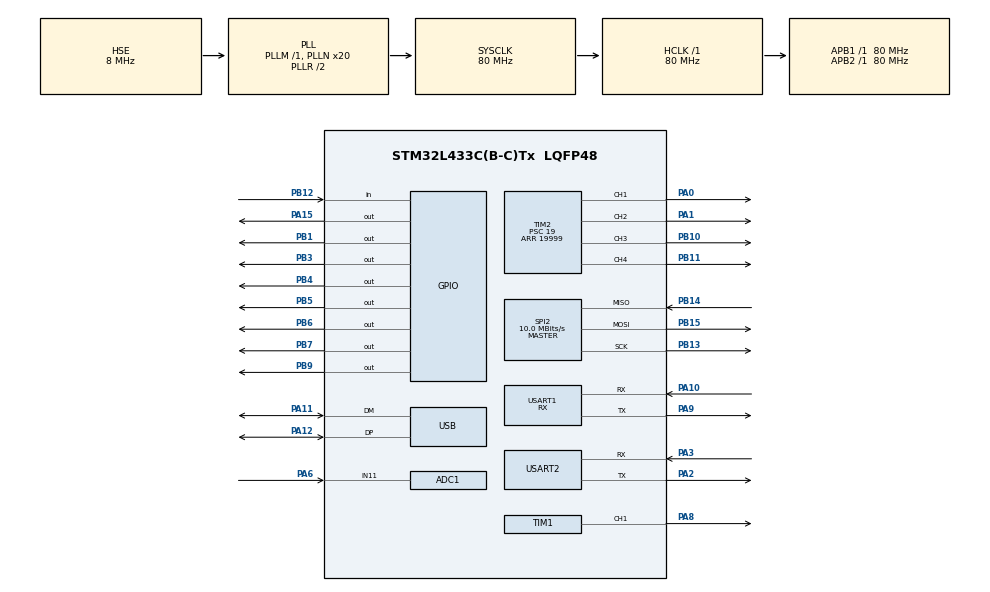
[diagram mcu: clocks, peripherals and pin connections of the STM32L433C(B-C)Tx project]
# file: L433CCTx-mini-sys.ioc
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ADC1.Channel-0\#ChannelRegularConversion=ADC_CHANNEL_11
ADC1.NbrOfConversionFlag=1
ADC1.OffsetNumber-0\#ChannelRegularConversion=ADC_OFFSET_NONE
ADC1.Rank-0\#ChannelRegularConversion=1
ADC1.SamplingTime-0\#ChannelRegularConversion=ADC_SAMPLETIME_2CYCLES_5
ADC1.master=1
Dma.Request0=USART2_TX
Dma.Request1=TIM1_CH1
Dma.TIM1_CH1.1.Direction=DMA_MEMORY_TO_PERIPH
Dma.TIM1_CH1.1.Instance=DMA1_Channel2
Dma.TIM1_CH1.1.MemDataAlignment=DMA_MDATAALIGN_BYTE
Dma.TIM1_CH1.1.MemInc=DMA_MINC_ENABLE
Dma.TIM1_CH1.1.Mode=DMA_CIRCULAR
Dma.TIM1_CH1.1.PeriphDataAlignment=DMA_PDATAALIGN_WORD
Dma.TIM1_CH1.1.PeriphInc=DMA_PINC_DISABLE
Dma.TIM1_CH1.1.Priority=DMA_PRIORITY_HIGH
Dma.USART2_TX.0.Direction=DMA_MEMORY_TO_PERIPH
Dma.USART2_TX.0.Instance=DMA1_Channel7
Dma.USART2_TX.0.MemDataAlignment=DMA_MDATAALIGN_BYTE
Dma.USART2_TX.0.MemInc=DMA_MINC_ENABLE
Dma.USART2_TX.0.Mode=DMA_CIRCULAR
Dma.USART2_TX.0.PeriphDataAlignment=DMA_PDATAALIGN_BYTE
Dma.USART2_TX.0.PeriphInc=DMA_PINC_DISABLE
Dma.USART2_TX.0.Priority=DMA_PRIORITY_MEDIUM
Mcu.Family=STM32L4
Mcu.Name=STM32L433C(B-C)Tx
Mcu.Package=LQFP48
NVIC.DMA1_Channel2_IRQn=true\:0\:0\:false\:false\:true
NVIC.DMA1_Channel7_IRQn=true\:0\:0\:false\:false\:true
NVIC.PriorityGroup=NVIC_PRIORITYGROUP_4
NVIC.TIM2_IRQn=true\:0\:0\:false\:false\:true
NVIC.USART1_IRQn=true\:0\:0\:false\:false\:true
NVIC.USB_IRQn=true\:0\:0\:false\:false\:true
PA0.Signal=S_TIM2_CH1
PA1.Signal=S_TIM2_CH2
PA10.Mode=Asynchronous
PA10.Signal=USART1_RX
PA11.Mode=Device
PA11.Signal=USB_DM
PA12.Mode=Device
PA12.Signal=USB_DP
PA13\ (JTMS-SWDIO).Mode=Serial_Wire
PA13\ (JTMS-SWDIO).Signal=SYS_JTMS-SWDIO
PA14\ (JTCK-SWCLK).Mode=Serial_Wire
PA14\ (JTCK-SWCLK).Signal=SYS_JTCK-SWCLK
PA15\ (JTDI).Signal=GPIO_Output
PA2.Mode=Asynchronous
PA2.Signal=USART2_TX
PA3.Mode=Asynchronous
PA3.Signal=USART2_RX
PA6.Signal=ADCx_IN11
PA8.GPIO_ModeDefaultPP=GPIO_MODE_AF_OD
PA8.GPIO_Speed=GPIO_SPEED_FREQ_HIGH
PA8.Signal=S_TIM1_CH1
PA9.Mode=Asynchronous
PA9.Signal=USART1_TX
PB1.GPIO_Speed=GPIO_SPEED_FREQ_HIGH
PB1.PinState=GPIO_PIN_SET
PB1.Signal=GPIO_Output
PB10.Signal=S_TIM2_CH3
PB11.Signal=S_TIM2_CH4
PB12.GPIO_PuPd=GPIO_PULLUP
PB12.Signal=GPIO_Input
PB13.Mode=Full_Duplex_Master
PB13.Signal=SPI2_SCK
PB14.GPIO_Mode=GPIO_MODE_AF_PP
PB14.GPIO_PuPd=GPIO_NOPULL
PB14.Mode=Full_Duplex_Master
PB14.Signal=SPI2_MISO
PB15.Mode=Full_Duplex_Master
PB15.Signal=SPI2_MOSI
PB3\ (JTDO-TRACESWO).GPIO_Speed=GPIO_SPEED_FREQ_HIGH
PB3\ (JTDO-TRACESWO).PinState=GPIO_PIN_SET
PB3\ (JTDO-TRACESWO).Signal=GPIO_Output
PB4\ (NJTRST).GPIO_Speed=GPIO_SPEED_FREQ_HIGH
PB4\ (NJTRST).PinState=GPIO_PIN_SET
PB4\ (NJTRST).Signal=GPIO_Output
PB5.GPIO_Speed=GPIO_SPEED_FREQ_HIGH
PB5.PinState=GPIO_PIN_SET
PB5.Signal=GPIO_Output
PB6.GPIO_Speed=GPIO_SPEED_FREQ_HIGH
PB6.PinState=GPIO_PIN_SET
PB6.Signal=GPIO_Output
PB7.GPIO_Speed=GPIO_SPEED_FREQ_HIGH
PB7.PinState=GPIO_PIN_SET
PB7.Signal=GPIO_Output
PB9.GPIO_Speed=GPIO_SPEED_FREQ_HIGH
PB9.Signal=GPIO_Output
PH0-OSC_IN\ (PH0).Mode=HSE-External-Oscillator
PH0-OSC_IN\ (PH0).Signal=RCC_OSC_IN
PH1-OSC_OUT\ (PH1).Mode=HSE-External-Oscillator
PH1-OSC_OUT\ (PH1).Signal=RCC_OSC_OUT
ProjectManager.HeapSize=0x200
ProjectManager.StackSize=0x400
ProjectManager.TargetToolchain=SW4STM32
RCC.ADCFreq_Value=48000000
RCC.AHBFreq_Value=80000000
RCC.APB1Freq_Value=80000000
RCC.APB1TimFreq_Value=80000000
RCC.APB2Freq_Value=80000000
RCC.APB2TimFreq_Value=80000000
RCC.CortexFreq_Value=80000000
RCC.HCLKFreq_Value=80000000
RCC.HSE_VALUE=8000000
RCC.HSI48_VALUE=48000000
RCC.HSI_VALUE=16000000
RCC.LSE_VALUE=32768
RCC.MSI_VALUE=4000000
RCC.PLLN=20
RCC.PLLSAI1N=12
RCC.PLLSourceVirtual=RCC_PLLSOURCE_HSE
RCC.SYSCLKFreq_VALUE=80000000
RCC.SYSCLKSource=RCC_SYSCLKSOURCE_PLLCLK
RCC.USBFreq_Value=48000000
RCC.VCOOutputFreq_Value=160000000
SH.ADCx_IN11.0=ADC1_IN11,IN11-Single-Ended
SH.S_TIM1_CH1.0=TIM1_CH1,PWM Generation1 CH1
SH.S_TIM2_CH1.0=TIM2_CH1,PWM Generation1 CH1
SH.S_TIM2_CH2.0=TIM2_CH2,PWM Generation2 CH2
SH.S_TIM2_CH3.0=TIM2_CH3,PWM Generation3 CH3
SH.S_TIM2_CH4.0=TIM2_CH4,PWM Generation4 CH4
SPI2.BaudRatePrescaler=SPI_BAUDRATEPRESCALER_8
SPI2.CalculateBaudRate=10.0 MBits/s
SPI2.DataSize=SPI_DATASIZE_8BIT
SPI2.Mode=SPI_MODE_MASTER
SPI2.NSSPMode=SPI_NSS_PULSE_DISABLE
TIM1.Period=99
TIM1.RepetitionCounter=0
TIM2.Channel-PWM\ Generation2\ CH2=TIM_CHANNEL_2
TIM2.Channel-PWM\ Generation3\ CH3=TIM_CHANNEL_3
TIM2.Channel-PWM\ Generation4\ CH4=TIM_CHANNEL_4
TIM2.Period=19999
TIM2.Prescaler=19
USART1.Mode=MODE_RX
USART1.WordLength=UART_WORDLENGTH_8B
USB_DEVICE.CLASS_NAME_FS=CDC
USB_DEVICE.USBD_LPM_ENABLED-CDC_FS=0
USB_DEVICE.VirtualModeFS=Cdc_FS
VP_FATFS_VS_Generic.Mode=User_defined
VP_USB_DEVICE_VS_USB_DEVICE_CDC_FS.Mode=CDC_FS
board=L433CCTx-mini-sys

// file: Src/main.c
/**
  ******************************************************************************
  * File Name          : main.c
  * Description        : Main program body
  ******************************************************************************
  *
  * Copyright (c) 2017 STMicroelectronics International N.V.
  * All rights reserved.
  *
  * Redistribution and use in source and binary forms, with or without
  * modification, are permitted, provided that the following conditions are met:
  *
  * 1. Redistribution of source code must retain the above copyright notice,
  *    this list of conditions and the following disclaimer.
  * 2. Redistributions in binary form must reproduce the above copyright notice,
  *    this list of conditions and the following disclaimer in the documentation
  *    and/or other materials provided with the distribution.
  * 3. Neither the name of STMicroelectronics nor the names of other
  *    contributors to this software may be used to endorse or promote products
  *    derived from this software without specific written permission.
  * 4. This software, including modifications and/or derivative works of this
  *    software, must execute solely and exclusively on microcontroller or
  *    microprocessor devices manufactured by or for STMicroelectronics.
  * 5. Redistribution and use of this software other than as permitted under
  *    this license is void and will automatically terminate your rights under
  *    this license.
  *
  * THIS SOFTWARE IS PROVIDED BY STMICROELECTRONICS AND CONTRIBUTORS "AS IS"
  * AND ANY EXPRESS, IMPLIED OR STATUTORY WARRANTIES, INCLUDING, BUT NOT
  * LIMITED TO, THE IMPLIED WARRANTIES OF MERCHANTABILITY, FITNESS FOR A
  * PARTICULAR PURPOSE AND NON-INFRINGEMENT OF THIRD PARTY INTELLECTUAL PROPERTY
  * RIGHTS ARE DISCLAIMED TO THE FULLEST EXTENT PERMITTED BY LAW. IN NO EVENT
  * SHALL STMICROELECTRONICS OR CONTRIBUTORS BE LIABLE FOR ANY DIRECT, INDIRECT,
  * INCIDENTAL, SPECIAL, EXEMPLARY, OR CONSEQUENTIAL DAMAGES (INCLUDING, BUT NOT
  * LIMITED TO, PROCUREMENT OF SUBSTITUTE GOODS OR SERVICES; LOSS OF USE, DATA,
  * OR PROFITS; OR BUSINESS INTERRUPTION) HOWEVER CAUSED AND ON ANY THEORY OF
  * LIABILITY, WHETHER IN CONTRACT, STRICT LIABILITY, OR TORT (INCLUDING
  * NEGLIGENCE OR OTHERWISE) ARISING IN ANY WAY OUT OF THE USE OF THIS SOFTWARE,
  * EVEN IF ADVISED OF THE POSSIBILITY OF SUCH DAMAGE.
  *
  ******************************************************************************
  */
#include "main.h"
#include "stm32l4xx_hal.h"
#include "adc.h"
#include "dma.h"
#include "fatfs.h"
#include "spi.h"
#include "tim.h"
#include "usart.h"
#include "usb_device.h"
#include "gpio.h"

/* USER CODE BEGIN Includes */
#include "stm32_adafruit_lcd.h"
#include "stm32_adafruit_sd.h"
#include "usbd_cdc_if.h"
#include "fatfs_storage.h"
#include "unistd.h"
#include "mpu9250.h"
#include "math.h"
#include "rc.h"
#include "servo.h"
#include "controller.h"
#include "flash.h"
#include "config.h"
#include "led.h"
/* USER CODE END Includes */

/* USER CODE BEGIN PV */
/* Private variables ---------------------------------------------------------*/

uint8_t counter = 0;
uint32_t failsafe_counter = 100;
uint8_t led_blink_counter = 0;
char* pDirectoryFiles[MAX_BMP_FILES];
uint8_t res;
uint16_t usb_res;
FRESULT fres;
DIR directory;
FATFS SD_FatFs; /* File system object for SD card logical drive */
float volt1 = 0.0f;
uint32_t free_ram;
char buf[50] =
{ 0 };
char buf2[100] =
{ 0 };
const uint8_t flash_top = 255;
uint32_t free_flash;
uint32_t tick, prev_tick, dt;
int xp, yp;
float vx = 0.0f, vy = 0.0f;
HAL_StatusTypeDef hal_res;
uint32_t idle_counter;
float cp_pid_vars[9];
uint8_t i, armed = 0, back_armed = 0;
uint8_t indexer = 0;
uint32_t millis[2];
uint32_t micros[2];
uint8_t low_volt = 0;
uint8_t warning = 0;

/* USER CODE END PV */

void SystemClock_Config(void);
void Error_Handler(void);

/* USER CODE BEGIN PFP */
/* Private function prototypes -----------------------------------------------*/

/* USER CODE END PFP */

int main(void)
{

  /* MCU Configuration----------------------------------------------------------*/

  /* Reset of all peripherals, Initializes the Flash interface and the Systick. */
  HAL_Init();

  /* Configure the system clock */
  SystemClock_Config();

  /* Initialize all configured peripherals */
  MX_GPIO_Init();
  MX_DMA_Init();
  MX_ADC1_Init();
  MX_SPI2_Init();
  MX_TIM1_Init();
  MX_TIM2_Init();
  MX_USART2_UART_Init();
  MX_USB_DEVICE_Init();

  /* USER CODE BEGIN 2 */

#ifdef HAVE_SD_CARD
    MX_FATFS_Init();
#endif

    led_set_rainbow(0, NR_COLORS, 128);

    // Reset USB on maple mine clone to let the PC host enumerate the device
    HAL_GPIO_WritePin(GPIOB, GPIO_PIN_9, GPIO_PIN_SET);
    HAL_Delay(100);
    HAL_GPIO_WritePin(GPIOB, GPIO_PIN_9, GPIO_PIN_RESET);

    // read settings into flash_buf and validate data
    check_settings_page();
    // feed variables from settings
    analyze_settings();

    if (p_settings->receiver == SBUS)
    {
        // alternative SBUS (Futaba) aka DBUS (Jeti)
        MX_SBUS_USART1_UART_Init();
        UART_RxCpltCallback = &HAL_UART_RxCpltCallback_SBUS;
        UART_ErrorCallback = &HAL_UART_ErrorCallback_SBUS;
        // Request first 25 bytes s-bus frame from uart, uart_data becomes filled per interrupts
        // Get callback if ready. Callback function starts next request
        HAL_UART_Receive_IT(&huart1, (uint8_t*) uart_data, 25);
    }
    else if (p_settings->receiver == SRXL)
    {
        // alternative SRXL16 (Multiplex) aka UDI16 (Jeti)
        MX_USART1_UART_Init();
        UART_RxCpltCallback = &HAL_UART_RxCpltCallback_SRXL;
        UART_ErrorCallback = &HAL_UART_ErrorCallback_SRXL;
        // Request first 35 bytes srxl frame from uart, uart_data becomes filled per interrupts
        // Get callback if ready. Callback function starts next request
        HAL_UART_Receive_IT(&huart1, (uint8_t*) uart_data, 35);
    }

    // no sample rate divider (0+1), accel: lowpass filter bandwidth 460 Hz, Rate 1kHz, gyro: lowpass filter bandwidth 250 Hz
    // gyro lpf, 2. parameter:
    // 0  250 Hz
    // 1  184 Hz
    // 2   92 Hz
    // 3   41 Hz
    BSP_MPU_Init(0, 2, 0);
    HAL_Delay(4000); // wait for silence after batteries plugged in
    BSP_MPU_GyroCalibration();

#ifdef HAVE_DISPLAY
    BSP_LCD_Init();
    BSP_LCD_Clear(LCD_COLOR_BLACK);
    BSP_LCD_SetRotation(0);
    BSP_LCD_SetFont(&Font12);
    BSP_LCD_SetTextColor(LCD_COLOR_YELLOW);
    BSP_LCD_SetBackColor(LCD_COLOR_BLACK);

    //for water bubble
    xp = BSP_LCD_GetXSize() / 2;
    yp = BSP_LCD_GetYSize() / 2;
#endif

#ifdef HAVE_SD_CARD
    //############ init SD-card, signal errors by LED ######################
    res = BSP_SD_Init();

    if (res != BSP_SD_OK)
    {
        Error_Handler();
    }
    else
    {
        fres = f_mount(&SD_FatFs, (TCHAR const*) "/", 0);
        sprintf(buf, "f_mount: %d", fres);

        if (fres != FR_OK)
        {
            Error_Handler();
        }
        else
        {
            for (i = 0; i < MAX_BMP_FILES; i++)
            {
                pDirectoryFiles[i] = malloc(11);
            }
        }
    }
#ifdef HAVE_DISPLAY
    if (res == BSP_SD_OK)
    {
        TFT_DisplayImages(0, 0, "PICT1.BMP", buf);
    }
#endif
#endif

    // start servo pulse generation
    // pulse finish callback updates length of next pulse
    HAL_TIM_PWM_Start_IT(&htim2, TIM_CHANNEL_1);
    HAL_TIM_PWM_Start_IT(&htim2, TIM_CHANNEL_2);
    HAL_TIM_PWM_Start_IT(&htim2, TIM_CHANNEL_3);
    HAL_TIM_PWM_Start_IT(&htim2, TIM_CHANNEL_4);

    // not to be enabled until BSP_MPU_GyroCalibration
    // Period elapsed callback sets flag PeriodElapsed
    __HAL_TIM_ENABLE_IT(&htim2, TIM_IT_UPDATE);

    // start DMA transferring circular aCCValue_Buffer values to timer3 CCR
    HAL_TIM_PWM_Start_DMA(&htim1, TIM_CHANNEL_1, (uint32_t *) aCCValue_Buffer, NR_LEDS * 24 + 8);

  /* USER CODE END 2 */

  /* Infinite loop */
    while (1)
    {

  /* USER CODE BEGIN 3 */

        // reference probe
        //millis[0] = HAL_GetTick();
        //micros[0] = SysTick->VAL;
        if (PeriodElapsed == 1) // 200 Hz from servo timer
        {
            // max 8 us
            // millis[1] = HAL_GetTick();
            // micros[1] = SysTick->VAL;

            PeriodElapsed = 0;
            counter++;
            failsafe_counter++;

            // max 9 us
            //millis[1] = HAL_GetTick();
            //micros[1] = SysTick->VAL;

            if (RC_RECEIVED == 1)
            {
                RC_RECEIVED = 0;
                failsafe_counter = 0;
            }

            // max 9 us
            //millis[1] = HAL_GetTick();
            //micros[1] = SysTick->VAL;

            BSP_MPU_read_rot();
            BSP_MPU_read_acc();

            // max 122 us
            //millis[1] = HAL_GetTick();
            //micros[1] = SysTick->VAL;

            // use int values se_roll, se_nick, se_gier as index to map different orientations of the sensor
            BSP_MPU_updateIMU(ac[se_roll] * se_roll_sign, ac[se_nick] * se_nick_sign, ac[se_gier] * se_gier_sign,
                    gy[se_roll] * se_roll_sign, gy[se_nick] * se_nick_sign, gy[se_gier] * se_gier_sign, 5.0f); // dt 5ms

            // then it comes out here properly mapped because Quaternions already changed axes
            BSP_MPU_getEuler(&ang[roll], &ang[nick], &ang[gier]);

            // max 325 us
            //millis[1] = HAL_GetTick();
            //micros[1] = SysTick->VAL;

            // armed only if arm switch on + not failsafe + not usb connected
            //if (channels[rc_arm] > H_TRSH && failsafe_counter < 40) // uncommend for test performance while usb connected
            if (channels[rc_arm] > H_TRSH && failsafe_counter < 40 && hUsbDeviceFS.dev_state != USBD_STATE_CONFIGURED) // armed, flight mode
            {
                armed = 1;

                if (channels[rc_mode] < L_TRSH)
                {
                    // attitude hold mode
                    // full stick equals ~250 degrees per second with rate of 8 (2000 / 250)
                    // gy range goes from 0 - 1000 [DPS]
                    diffroll = gy[se_roll] * se_roll_sign * rate[se_roll] - (float) channels[rc_roll] + MIDDLE_POS; // native middle positions
                    diffnick = gy[se_nick] * se_nick_sign * rate[se_nick] - (float) channels[rc_nick] + MIDDLE_POS;

                    // max 334 us
                    //millis[1] = HAL_GetTick();
                    //micros[1] = SysTick->VAL;

                    roll_set = pid(x, scale_roll, diffroll, pid_vars[RKp], pid_vars[RKi], pid_vars[RKd], 5.0f);
                    nick_set = pid(y, scale_nick, diffnick, pid_vars[NKp], pid_vars[NKi], pid_vars[NKd], 5.0f);

                    // max 403 us
                    //millis[1] = HAL_GetTick();
                    //micros[1] = SysTick->VAL;

                }
                else // mode 2 and mode 3 are the same currently
                {
                    // level hold mode
                    // full stick 45 degrees
                    diffroll = ang[roll] * 2000.0f / (M_PI / 4.0f) - (float) channels[rc_roll] + MIDDLE_POS;
                    diffnick = ang[nick] * 2000.0f / (M_PI / 4.0f) - (float) channels[rc_nick] + MIDDLE_POS;

                    roll_set = pid(x, scale_roll, diffroll, l_pid_vars[RKp], l_pid_vars[RKi], l_pid_vars[RKd], 5.0f);
                    nick_set = pid(y, scale_nick, diffnick, l_pid_vars[NKp], l_pid_vars[NKi], l_pid_vars[NKd], 5.0f);
                }

                // full stick equals ~250 degrees per second with rate of 8 (2000 / 250)
                // gy range goes from 0 - 1000 [DPS]
                diffgier = gy[se_gier] * se_gier_sign * rate[se_gier] + (float) channels[rc_gier] - MIDDLE_POS; // control reversed, gy right direction
                gier_set = pid(z, 1.0f, diffgier, pid_vars[GKp], pid_vars[GKi], pid_vars[GKd], 5.0f);

                // max 439 us
                //millis[1] = HAL_GetTick();
                //micros[1] = SysTick->VAL;

                // scale thrust channel to have space for governor if max thrust is set
                thrust_set = rintf((float) channels[rc_thrust] * 0.85f) + LOW_OFFS; // native middle position and 134 % are set
                //thrust_set = (int16_t) channels[rc_thrust] + LOW_OFFS; // native middle position and 134 % are set

                // max 442 us
                //millis[1] = HAL_GetTick();
                //micros[1] = SysTick->VAL;

                control(thrust_set, roll_set, nick_set, gier_set);
                // assured finished before first servo update by HAL_TIM_PWM_PulseFinishedCallback (1000 us)

                // max 488 us if all channels are inverted and receiver repeat rate 5ms
                //millis[1] = HAL_GetTick();
                //micros[1] = SysTick->VAL;

            }
            else // not armed or fail save or USB connected, motor stop except if motor test running
            {
                armed = 0;

                // stop motors even with motor test running if USB cable gets disconnected
                if (rcv_motors == 0 || hUsbDeviceFS.dev_state != USBD_STATE_CONFIGURED)
                {
                    halt_reset();
                }

                // prevent overflow after many hours
                failsafe_counter = 100;

                // message over VCP arrived. From config tool?
                if (cdc_received == 1)
                {
                    // receiving 1k data for settings flash page in one or more iterations
                    if (rcv_settings == 1)
                    {
                        receive_settings();
                    }
                    else
                    {   // read commands from config tool
                        config_state_switch((const char *) received_data);
                    }
                }

                // sending 1k data of settings flash page
                if (snd_settings == 1)
                {
                    HAL_Delay(300); // wait for live data on wire gets swallowed before send

                    send_settings((uint8_t*) flash_buf);
                }
                else if (snd_channels == 1 && channels_receipt == 1)  // sending channels
                {
                    send_channels();
                }
                else if (snd_live == 1 && live_receipt == 1)
                {
                    send_live();
                }

                if (snd_live == 0)
                {
                    //free_ram = (0x20000000 + 1024 * 20) - (uint32_t) sbrk((int)0);
                    //sprintf(buf, "free: %ld", free_ram);
                    //free_flash = (0x8000000 + 1024 * 128) - (uint32_t) &flash_top;
                    //sprintf(buf, "free: %ld", free_flash);
                    //BSP_LCD_DisplayCLRStringAtLine(12, (uint8_t *) buf, LEFT_MODE, LCD_COLOR_YELLOW);
                }

                //sprintf(buf, "%d", sizeof(settings) );
                //BSP_LCD_DisplayCLRStringAtLine(12, (uint8_t *) buf, LEFT_MODE, LCD_COLOR_YELLOW);

            } // not armed

            // do it in time pieces
            // any of 8 slots will be repeated at 25Hz ( 40ms ) and may last at least 4ms
            if (counter >= 8) // Program With Display, Flight Display and LED State Change Slot
            {
                counter = 0;

                if (armed == 0)
                {
                    // transition to motor stop clear screen
                    if ( back_armed - armed > 0 )
                    {
                        led_set_rainbow(0, NR_COLORS, 128);
#ifdef HAVE_DISPLAY
                        BSP_LCD_SetRotation(0);
                        BSP_LCD_Clear(LCD_COLOR_BLACK);
#endif
                        back_armed = armed;
                    }
#ifdef HAVE_DISPLAY
                    // transition of beeper momentary switch (channels[rc_beep]) detect
                    if (channels[rc_beep] - back_channels[rc_beep] > TRANS_OFFS)
                    {
                        // if program switch (channels[rc_prog]) is off
                        // increment indexer
                        if (channels[rc_prog] < L_TRSH)
                        {
                            if (indexer < 8)
                            {
                                indexer++;
                            }
                            else
                            {
                                indexer = 0;
                            }

                        }
                        // else if program switch (channels[rc_prog]) full on
                        // copy pid_vars from ram to upper flash page
                        else if (channels[rc_prog] > H_TRSH)
                        {
                            p_settings = (settings *) flash_buf;
                            read_flash_vars((uint32_t *) flash_buf, 256, 0);

                            for (i = 0; i < 9; i++)
                            {
                                // write ram vars to flash buffer
                                p_settings->pidvars[i] = pid_vars[i];
                                p_settings->l_pidvars[i] = l_pid_vars[i];
                            }

                            if (erase_flash_page() != HAL_OK)
                            {
                                Error_Handler();
                            }
                            else
                            {
                                // keep last 64 bit wide location virgin for DFU flag write only 127 of 128 * 8 bytes
                                if (write_flash_vars((uint64_t*) flash_buf, 127, 0) != HAL_OK)
                                {
                                    Error_Handler();
                                }
                            }
                        }
                    }

                    back_channels[rc_beep] = channels[rc_beep];

                    if (snd_live == 0) // disable while live data send
                    {
                        if (channels[rc_mode] < L_TRSH)
                        {
                            // show and program by RC the current PID values
                            draw_program_pid_values(1, pid_vars[RKp], "Roll   Kp: %3.5f", indexer, 1);
                            draw_program_pid_values(2, pid_vars[RKi], "Roll   Ki: %3.5f", indexer, 1);
                            draw_program_pid_values(3, pid_vars[RKd], "Roll   Kd: %3.5f", indexer, 1);
                            draw_program_pid_values(4, pid_vars[NKp], "Nick   Kp: %3.5f", indexer, 1);
                            draw_program_pid_values(5, pid_vars[NKi], "Nick   Ki: %3.5f", indexer, 1);
                            draw_program_pid_values(6, pid_vars[NKd], "Nick   Kd: %3.5f", indexer, 1);
                            draw_program_pid_values(7, pid_vars[GKp], "Gier   Kp: %3.5f", indexer, 1);
                            draw_program_pid_values(8, pid_vars[GKi], "Gier   Ki: %3.5f", indexer, 1);
                            draw_program_pid_values(9, pid_vars[GKd], "Gier   Kd: %3.5f", indexer, 1);
                        }
                        else
                        {
                            // show and program by RC the current level flight PID values
                            draw_program_pid_values(1, l_pid_vars[RKp], "Roll l_Kp: %3.5f", indexer, 1);
                            draw_program_pid_values(2, l_pid_vars[RKi], "Roll l_Ki: %3.5f", indexer, 1);
                            draw_program_pid_values(3, l_pid_vars[RKd], "Roll l_Kd: %3.5f", indexer, 1);
                            draw_program_pid_values(4, l_pid_vars[NKp], "Nick l_Kp: %3.5f", indexer, 1);
                            draw_program_pid_values(5, l_pid_vars[NKi], "Nick l_Ki: %3.5f", indexer, 1);
                            draw_program_pid_values(6, l_pid_vars[NKd], "Nick l_Kd: %3.5f", indexer, 1);
                            draw_program_pid_values(7, l_pid_vars[GKp], "Gier l_Kp: %3.5f", indexer, 1);
                            draw_program_pid_values(8, l_pid_vars[GKi], "Gier l_Ki: %3.5f", indexer, 1);
                            draw_program_pid_values(9, l_pid_vars[GKd], "Gier l_Kd: %3.5f", indexer, 1);
                        }
                    }
#endif
                }
                else // armed, flight mode screen
                {
                    // transition to armed
                    if ( armed - back_armed > 0 )
                    {
                        if (channels[rc_mode] < L_TRSH)
                        {
                            led_set_armed_acro(255);
                        }
                        else
                        {
                            led_set_armed_level_hold(255);
                        }
#ifdef HAVE_DISPLAY
                        BSP_LCD_SetRotation(3);
                        BSP_LCD_Clear(LCD_COLOR_BLACK);
#endif
                        back_armed = armed;
                    }
#ifdef HAVE_DISPLAY
                    //########### water bubble ################################

                    BSP_LCD_SetTextColor(LCD_COLOR_BLACK);
                    BSP_LCD_DrawCircle(xp, yp, 5);

                    BSP_LCD_SetTextColor(LCD_COLOR_RED);
                    BSP_LCD_DrawHLine(75, 64, 11);
                    BSP_LCD_DrawVLine(80, 59, 11);

                    vx = sinf(ang[nick]) * 300.0f;
                    vy = sinf(ang[roll]) * 300.0f;

                    xp = rintf(vx) + 80;
                    yp = rintf(vy) + 64;

                    if (xp < 5)
                    {
                        xp = 5;
                        vx = 0;
                    }
                    if (yp < 5)
                    {
                        yp = 5;
                        vy = 0;
                    }
                    if (yp > 122)
                    {
                        yp = 122;
                        vy = 0;
                    }
                    if (xp > 154)
                    {
                        xp = 154;
                        vx = 0;
                    }

                    BSP_LCD_SetTextColor(LCD_COLOR_GREEN);
                    BSP_LCD_DrawCircle(xp, yp, 5);

                    //############ end water bubble ###########################
#endif
                }
            }

            if (counter == 7) // Batt Voltage Slot
            {
                HAL_ADCEx_Calibration_Start(&hadc1, ADC_SINGLE_ENDED);
                if (HAL_ADC_Start(&hadc1) == HAL_OK)
                {
                    if (HAL_ADC_PollForConversion(&hadc1, 100) == HAL_OK)
                    {
                        volt1 = (HAL_ADC_GetValue(&hadc1)) / 219.84f; // calibrate, resistors 8.2k 1.8k
                    }
                    HAL_ADC_Stop(&hadc1);
                }

                if ( volt1 < low_voltage )
                {
                    low_volt = 1;
                }
                else if (volt1 > (low_voltage + 1.0f) )
                {
                    low_volt = 0;
                }
            }

            if (counter == 6) // Board LED Slot
            {
                HAL_GPIO_TogglePin(GPIOB, GPIO_PIN_1);    // maple mini clone board
                //HAL_GPIO_TogglePin(GPIOC, GPIO_PIN_13); // minimum development system board
            }

            if (counter == 5) // LEDs Show State Slot
            {
                // rotate led colors unless armed light
                if (armed == 0)
                {
                    // rotate colors, right is moving inner to outer
                    led_rotate_right(0, NR_COLORS - 1);
                    //led_rotate_left(0, NR_COLORS - 1);

                    if (warning == 0) // to not disturb warning LED off period
                    {
                        led_trans_vals();
                    }
                }
                else
                {
                    // transition to level hold mode while armed
                    if (channels[rc_mode] - back_channels[rc_mode] > TRANS_OFFS)
                    {
                        led_set_armed_level_hold(255);
                        back_channels[rc_mode] = channels[rc_mode];
                    }
                    // transition to acro mode while armed, only low position of 3 step switch is acro
                    if (back_channels[rc_mode] - channels[rc_mode] > TRANS_OFFS && channels[rc_mode] < L_TRSH)
                    {
                        led_set_armed_acro(255);
                        back_channels[rc_mode] = channels[rc_mode];
                    }
                }
            }

            if (counter == 4)  // Warning Slot
            {
                led_blink_counter = led_blink_counter == 1 ? 2 : 1;

                if ( ( low_volt == 1 || channels[rc_beep] > L_TRSH ) &&  hUsbDeviceFS.dev_state != USBD_STATE_CONFIGURED )
                {
                    // beep
                    HAL_GPIO_WritePin(GPIOA, GPIO_PIN_15, GPIO_PIN_SET);
                    warning = 1;
                }

                if ( warning == 1 )
                {
                    if ( led_blink_counter == 2 )
                    {
                        // blink OFF
                        led_set_off(0, NR_LEDS);
                    }
                    else
                    {
                        // blink ON
                        led_trans_vals();

                        // reset warning state after blink period finished if warning condition vanished
                        if ( ( low_volt == 0 && channels[rc_beep] < H_TRSH ) || hUsbDeviceFS.dev_state == USBD_STATE_CONFIGURED )
                        {
                            // unbeep
                            HAL_GPIO_WritePin(GPIOA, GPIO_PIN_15, GPIO_PIN_RESET);
                            warning = 0;
                        }
                    }
                }
            }

            if (counter == 3)
            {

            }

            if (counter == 2)
            {

            }

            if (counter == 1)
            {

            }

            //sprintf(buf2, "%ld\n", idle_counter);
            //CDC_Transmit_FS((uint8_t*) buf2, strlen(buf2));

            // max 4510 us in water bubble period
            //millis[1] = HAL_GetTick();
            //micros[1] = SysTick->VAL;

            /*
             if ( micros[0] > micros[1] )
             {
             sprintf(buf2, "diff: %ld\n", ( micros[0] - micros[1] ) / 72 + 1000 * ( millis[1] - millis[0] ) );
             //sprintf(buf2, "millis0: %ld micros0: %ld millis1: %ld micros1: %ld\n", millis[0], micros[0]/72, millis[1], micros[1]/72 );
             }
             else // systick counter rounded between probes
             {
             sprintf(buf2, "diff_r: %ld\n", micros[0] / 72 + 1000 - micros[1] / 72 + 1000 * ( millis[1] - millis[0] -1 )  );
             //sprintf(buf2, "millis0: %ld micros0: %ld millis1: %ld micros1: %ld\n", millis[0], micros[0]/72, millis[1], micros[1]/72 );
             }

             CDC_Transmit_FS((uint8_t*) buf2, strlen(buf2));

             // read on PC:
             // stty "1:0:18b2:0:3:1c:7f:15:4:5:1:0:11:13:1a:0:12:f:17:16:0:0:0:0:0:0:0:0:0:0:0:0:0:0:0:0" -F /dev/ttyACM0
             // cat /dev/ttyACM0
             */

            idle_counter = 0;

        }
        else
        {
            idle_counter++;
            // min 723 now with running SRXL receiving
        }

    } //while(1)

  /* USER CODE END 3 */

}

/** System Clock Configuration
*/
void SystemClock_Config(void)
{

  RCC_OscInitTypeDef RCC_OscInitStruct;
  RCC_ClkInitTypeDef RCC_ClkInitStruct;
  RCC_PeriphCLKInitTypeDef PeriphClkInit;

    /**Initializes the CPU, AHB and APB busses clocks
    */
  RCC_OscInitStruct.OscillatorType = RCC_OSCILLATORTYPE_HSE;
  RCC_OscInitStruct.HSEState = RCC_HSE_ON;
  RCC_OscInitStruct.PLL.PLLState = RCC_PLL_ON;
  RCC_OscInitStruct.PLL.PLLSource = RCC_PLLSOURCE_HSE;
  RCC_OscInitStruct.PLL.PLLM = 1;
  RCC_OscInitStruct.PLL.PLLN = 20;
  RCC_OscInitStruct.PLL.PLLP = RCC_PLLP_DIV7;
  RCC_OscInitStruct.PLL.PLLQ = RCC_PLLQ_DIV2;
  RCC_OscInitStruct.PLL.PLLR = RCC_PLLR_DIV2;
  if (HAL_RCC_OscConfig(&RCC_OscInitStruct) != HAL_OK)
  {
    Error_Handler();
  }

    /**Initializes the CPU, AHB and APB busses clocks
    */
  RCC_ClkInitStruct.ClockType = RCC_CLOCKTYPE_HCLK|RCC_CLOCKTYPE_SYSCLK
                              |RCC_CLOCKTYPE_PCLK1|RCC_CLOCKTYPE_PCLK2;
  RCC_ClkInitStruct.SYSCLKSource = RCC_SYSCLKSOURCE_PLLCLK;
  RCC_ClkInitStruct.AHBCLKDivider = RCC_SYSCLK_DIV1;
  RCC_ClkInitStruct.APB1CLKDivider = RCC_HCLK_DIV1;
  RCC_ClkInitStruct.APB2CLKDivider = RCC_HCLK_DIV1;

  if (HAL_RCC_ClockConfig(&RCC_ClkInitStruct, FLASH_LATENCY_4) != HAL_OK)
  {
    Error_Handler();
  }

  PeriphClkInit.PeriphClockSelection = RCC_PERIPHCLK_USART1|RCC_PERIPHCLK_USART2
                              |RCC_PERIPHCLK_USB|RCC_PERIPHCLK_ADC;
  PeriphClkInit.Usart1ClockSelection = RCC_USART1CLKSOURCE_PCLK2;
  PeriphClkInit.Usart2ClockSelection = RCC_USART2CLKSOURCE_PCLK1;
  PeriphClkInit.AdcClockSelection = RCC_ADCCLKSOURCE_PLLSAI1;
  PeriphClkInit.UsbClockSelection = RCC_USBCLKSOURCE_PLLSAI1;
  PeriphClkInit.PLLSAI1.PLLSAI1Source = RCC_PLLSOURCE_HSE;
  PeriphClkInit.PLLSAI1.PLLSAI1M = 1;
  PeriphClkInit.PLLSAI1.PLLSAI1N = 12;
  PeriphClkInit.PLLSAI1.PLLSAI1P = RCC_PLLP_DIV7;
  PeriphClkInit.PLLSAI1.PLLSAI1Q = RCC_PLLQ_DIV2;
  PeriphClkInit.PLLSAI1.PLLSAI1R = RCC_PLLR_DIV2;
  PeriphClkInit.PLLSAI1.PLLSAI1ClockOut = RCC_PLLSAI1_48M2CLK|RCC_PLLSAI1_ADC1CLK;
  if (HAL_RCCEx_PeriphCLKConfig(&PeriphClkInit) != HAL_OK)
  {
    Error_Handler();
  }

    /**Configure the main internal regulator output voltage
    */
  if (HAL_PWREx_ControlVoltageScaling(PWR_REGULATOR_VOLTAGE_SCALE1) != HAL_OK)
  {
    Error_Handler();
  }

    /**Configure the Systick interrupt time
    */
  HAL_SYSTICK_Config(HAL_RCC_GetHCLKFreq()/1000);

    /**Configure the Systick
    */
  HAL_SYSTICK_CLKSourceConfig(SYSTICK_CLKSOURCE_HCLK);

  /* SysTick_IRQn interrupt configuration */
  HAL_NVIC_SetPriority(SysTick_IRQn, 0, 0);
}

void Error_Handler(void)
{
  /* USER CODE BEGIN Error_Handler */
    /* User can add his own implementation to report the HAL error return state */
    uint8_t i;
    for (i = 0; i < 6; i++)
    {
        HAL_GPIO_TogglePin(GPIOB, GPIO_PIN_1);
        HAL_GPIO_TogglePin(GPIOC, GPIO_PIN_13);
        HAL_Delay(200);
    }
  /* USER CODE END Error_Handler */
}

/************************ (C) COPYRIGHT STMicroelectronics *****END OF FILE****/
